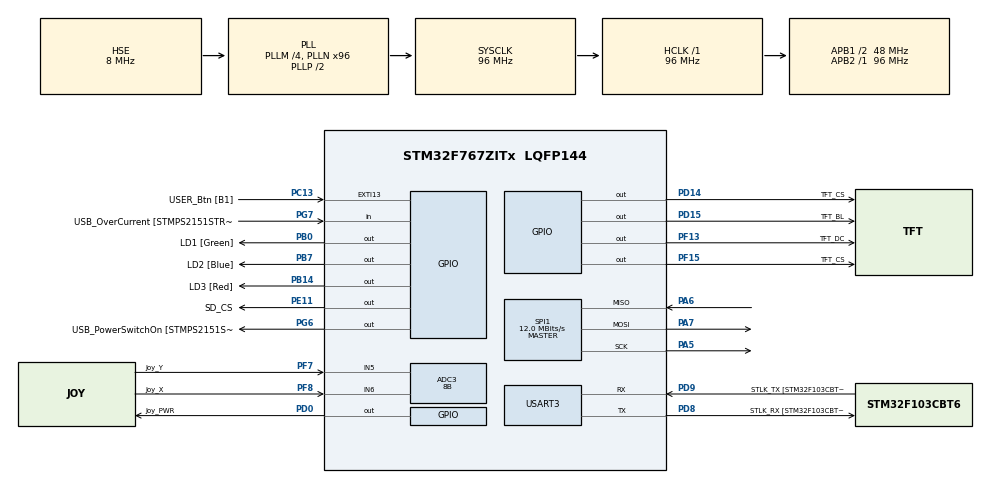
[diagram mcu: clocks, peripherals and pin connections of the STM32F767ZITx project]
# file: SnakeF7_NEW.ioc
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ADC3.Channel-0\#ChannelRegularConversion=ADC_CHANNEL_5
ADC3.Channel-1\#ChannelRegularConversion=ADC_CHANNEL_6
ADC3.Channel-2\#ChannelInjectedConversion=ADC_CHANNEL_5
ADC3.Channel-3\#ChannelInjectedConversion=ADC_CHANNEL_6
ADC3.ClockPrescaler=ADC_CLOCK_SYNC_PCLK_DIV6
ADC3.DiscontinuousConvMode=ENABLE
ADC3.InjNumberOfConversion=2
ADC3.InjectedOffset-2\#ChannelInjectedConversion=0
ADC3.InjectedOffset-3\#ChannelInjectedConversion=0
ADC3.InjectedRank-2\#ChannelInjectedConversion=1
ADC3.InjectedRank-3\#ChannelInjectedConversion=2
ADC3.NbrOfConversion=2
ADC3.NbrOfConversionFlag=1
ADC3.NbrOfDiscConversion=1
ADC3.Rank-0\#ChannelRegularConversion=1
ADC3.Rank-1\#ChannelRegularConversion=2
ADC3.Resolution=ADC_RESOLUTION_8B
ADC3.SamplingTime-0\#ChannelRegularConversion=ADC_SAMPLETIME_3CYCLES
ADC3.SamplingTime-1\#ChannelRegularConversion=ADC_SAMPLETIME_3CYCLES
ADC3.SamplingTime-2\#ChannelInjectedConversion=ADC_SAMPLETIME_3CYCLES
ADC3.SamplingTime-3\#ChannelInjectedConversion=ADC_SAMPLETIME_3CYCLES
ADC3.ScanConvMode=ADC_SCAN_ENABLE
Mcu.Family=STM32F7
Mcu.Name=STM32F767ZITx
Mcu.Package=LQFP144
NVIC.PriorityGroup=NVIC_PRIORITYGROUP_4
PA13.GPIO_Label=TMS
PA13.Mode=Serial_Wire
PA13.Signal=SYS_JTMS-SWDIO
PA14.GPIO_Label=TCK
PA14.Mode=Serial_Wire
PA14.Signal=SYS_JTCK-SWCLK
PA5.Mode=Full_Duplex_Master
PA5.Signal=SPI1_SCK
PA6.Mode=Full_Duplex_Master
PA6.Signal=SPI1_MISO
PA7.Mode=Full_Duplex_Master
PA7.Signal=SPI1_MOSI
PB0.GPIO_Label=LD1 [Green]
PB0.Signal=GPIO_Output
PB14.GPIO_Label=LD3 [Red]
PB14.Signal=GPIO_Output
PB3.GPIO_Label=SWO
PB3.Signal=SYS_JTDO-SWO
PB7.GPIO_Label=LD2 [Blue]
PB7.Signal=GPIO_Output
PC13.GPIO_Label=USER_Btn [B1]
PC13.Signal=GPXTI13
PC14/OSC32_IN.Mode=LSE-External-Oscillator
PC14/OSC32_IN.Signal=RCC_OSC32_IN
PC15/OSC32_OUT.Mode=LSE-External-Oscillator
PC15/OSC32_OUT.Signal=RCC_OSC32_OUT
PD0.GPIO_Label=Joy_PWR
PD0.GPIO_ModeDefaultOutputPP=GPIO_MODE_OUTPUT_PP
PD0.GPIO_PuPd=GPIO_PULLUP
PD0.PinState=GPIO_PIN_SET
PD0.Signal=GPIO_Output
PD14.GPIO_Label=TFT_CS
PD14.Signal=GPIO_Output
PD15.GPIO_Label=TFT_BL
PD15.Signal=GPIO_Output
PD8.GPIO_Label=STLK_RX [STM32F103CBT6_PA3]
PD8.Mode=Asynchronous
PD8.Signal=USART3_TX
PD9.GPIO_Label=STLK_TX [STM32F103CBT6_PA2]
PD9.Mode=Asynchronous
PD9.Signal=USART3_RX
PE11.GPIO_Label=SD_CS
PE11.Signal=GPIO_Output
PF13.GPIO_Label=TFT_DC
PF13.Signal=GPIO_Output
PF15.GPIO_Label=TFT_CS
PF15.Signal=GPIO_Output
PF7.GPIO_Label=Joy_Y
PF7.Mode=IN5
PF7.Signal=ADC3_IN5
PF8.GPIO_Label=Joy_X
PF8.Mode=IN6
PF8.Signal=ADC3_IN6
PG6.GPIO_Label=USB_PowerSwitchOn [STMPS2151STR_EN]
PG6.Signal=GPIO_Output
PG7.GPIO_Label=USB_OverCurrent [STMPS2151STR_FAULT]
PG7.Signal=GPIO_Input
PH0/OSC_IN.GPIO_Label=MCO [STM32F103CBT6_PA8]
PH0/OSC_IN.Mode=HSE-External-Clock-Source
PH0/OSC_IN.Signal=RCC_OSC_IN
PH1/OSC_OUT.Mode=HSE-External-Clock-Source
PH1/OSC_OUT.Signal=RCC_OSC_OUT
ProjectManager.HeapSize=0x200
ProjectManager.StackSize=0x400
ProjectManager.TargetToolchain=STM32CubeIDE
RCC.48MHZClocksFreq_Value=24000000
RCC.AHBFreq_Value=96000000
RCC.APB1CLKDivider=RCC_HCLK_DIV2
RCC.APB1Freq_Value=48000000
RCC.APB1TimFreq_Value=96000000
RCC.APB2Freq_Value=96000000
RCC.APB2TimFreq_Value=96000000
RCC.CortexFreq_Value=96000000
RCC.HCLKFreq_Value=96000000
RCC.HSE_VALUE=8000000
RCC.HSI_VALUE=16000000
RCC.PLLM=4
RCC.PLLMUL=RCC_PLL_MUL9
RCC.PLLN=96
RCC.PLLQ=4
RCC.PLLSourceVirtual=RCC_PLLSOURCE_HSE
RCC.PRESCALERUSB=RCC_USBCLKSOURCE_PLL_DIV1_5
RCC.SYSCLKFreq_VALUE=96000000
RCC.SYSCLKSource=RCC_SYSCLKSOURCE_PLLCLK
RCC.SYSCLKSourceVirtual=RCC_SYSCLKSOURCE_PLLCLK
RCC.USBFreq_Value=48000000
RCC.VCOOutputFreq_Value=192000000
SPI1.BaudRatePrescaler=SPI_BAUDRATEPRESCALER_8
SPI1.CalculateBaudRate=12.0 MBits/s
SPI1.DataSize=SPI_DATASIZE_8BIT
SPI1.Direction=SPI_DIRECTION_2LINES
SPI1.Mode=SPI_MODE_MASTER
SPI1.VirtualType=VM_MASTER
USART3.VirtualMode-Asynchronous=VM_ASYNC
VP_RNG_VS_RNG.Mode=RNG_Activate
board=NUCLEO-F767ZI

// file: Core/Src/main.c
/* USER CODE BEGIN Header */
/**
  ******************************************************************************
  * @file           : main.c
  * @brief          : Main program body
  ******************************************************************************
  * @attention
  *
  * Copyright (c) 2023 STMicroelectronics.
  * All rights reserved.
  *
  * This software is licensed under terms that can be found in the LICENSE file
  * in the root directory of this software component.
  * If no LICENSE file comes with this software, it is provided AS-IS.
  *
  ******************************************************************************
  */
/* USER CODE END Header */
#include "main.h"

/* USER CODE BEGIN Includes */
#include <stdio.h>
#include <string.h>

#include "../XPT2046/XPT2046.h"
#include "../XPT2046/LCD.h"
#include "../XPT2046/Touch.h"
#include "../XPT2046/5x5_font.h"
#include "../XPT2046/graphics.h"

/* USER CODE END Includes */

/* USER CODE BEGIN PD */
#define FRAME_Free		0
#define FRAME_Snake		10
#define FRAME_Block		11
#define FRAME_Food		12
#define FRAME_Turtle	13

#define MOVE_LEFT	1
#define MOVE_RIGHT	2
#define MOVE_UP		3
#define MOVE_DOWN	4

#define food	0
#define turtle	1

#define normal	0
#define maze	1

#define head_x snake[0][0]
#define head_y snake[0][1]
#define tail_x snake[snake_lenght - 1][0]
#define tail_y snake[snake_lenght - 1][1]
#define tail_x_old snake[snake_lenght][0]
#define tail_y_old snake[snake_lenght][1]
/* USER CODE END PD */

 ADC_HandleTypeDef hadc3;

RNG_HandleTypeDef hrng;

SPI_HandleTypeDef hspi1;

UART_HandleTypeDef huart3;

/* USER CODE BEGIN PV */
const uint16_t Classic_GREEN	 = 0x9660;
const uint16_t ClassicFont_GREEN = 0x0000;
const uint16_t LCD1602_GREEN	 = 0xCFA4;
const uint16_t LCD1602Font_GREEN = 0x4322;
const uint16_t LCD1602_BLUE		 = 0x0358;
const uint16_t LCD1602Font_BLUE	 = 0xB79F;
const uint16_t LCD1602_RED		 = 0xF800;
const uint16_t LCD1602Font_RED	 = 0x0000;
const uint16_t OLED_BLUE		 = 0x0000;
const uint16_t OLEDFont_BLUE	 = 0x1F9E;
const uint16_t OLED_YELLOW	 	 = 0x0000;
const uint16_t OLEDFont_YELLOW	 = 0xFF80;
const uint16_t OLED_WHITE	 	 = 0x0000;
const uint16_t OLEDFont_WHITE	 = 0xFFFF;
const uint16_t CUSTOM_YELLOW	 = 0xFF80;
const uint16_t CUSTOM_YELLOWFont = 0x0000;
const uint16_t FALLOUT			 = 0x19A4;
const uint16_t FALLOUTFont		 = 0x168D;

const uint8_t field_width = 12;
const uint8_t field_height = 15;

const char classic[] = "Classic";
const char lcd_green[] = "LCD Green";
const char lcd_blue[] = "LCD Blue";
const char lcd_red[]  = "LCD Red";
const char oled_b[] = "OLED B";
const char oled_y[] = "OLED Y";
const char oled_w[] = "OLED W";
const char fallout[]  = "Fallout";
const char yellow[]  = "Yellow";

struct btn {
	uint8_t up, down, left, right, center;
} btn;

uint8_t move_dir = 3;
uint8_t move_dir_old = 3;
uint8_t snake_lenght = 3;
uint8_t turtle_exist = 0;
uint8_t eating = 0;

uint8_t go_game = 0;
uint16_t score = 0;
uint8_t turtles = 0;
uint16_t speed = 500;

uint8_t color_pack = 1;
uint16_t main_color = 0x9660;
uint16_t font_color = 0x0000;

uint32_t sys_t0 = 0;
uint32_t sys_t1 = 0;
uint32_t sys_t2 = 0;
uint32_t sys_t3 = 0;

int8_t snake[300][2];
char str[32];
uint8_t field[13][16]; //[16][13]

/* USER CODE END PV */

void SystemClock_Config(void);
static void MX_GPIO_Init(void);
static void MX_ADC3_Init(void);
static void MX_SPI1_Init(void);
static void MX_USART3_UART_Init(void);
static void MX_RNG_Init(void);

/* USER CODE BEGIN 0 */
void joy_direction() {
	HAL_ADC_Start(&hadc3);
	HAL_ADC_PollForConversion(&hadc3, 20);
	uint16_t adc_x = HAL_ADC_GetValue(&hadc3);
	HAL_ADC_Start(&hadc3);
	HAL_ADC_PollForConversion(&hadc3, 20);
	uint16_t adc_y = HAL_ADC_GetValue(&hadc3);

	/*HAL_ADCEx_InjectedStart(&hadc3);
	HAL_ADC_PollForConversion(&hadc3, 20);
	uint16_t adc_x = HAL_ADCEx_InjectedGetValue(&hadc3, ADC_INJECTED_RANK_1);
	uint16_t adc_y = HAL_ADCEx_InjectedGetValue(&hadc3, ADC_INJECTED_RANK_2);
	*/

	//HAL_UART_Transmit(&huart2, (uint8_t*)str, sprintf(str, "x=%d y=%d\r\n", adc_x, adc_y), 100);

	//joy_x_state <<= 1;
	//joy_y_state <<= 1;
	if(adc_x > 225) { move_dir = MOVE_RIGHT; return; }
	if(adc_x < 25) { move_dir = MOVE_LEFT; return; }
	if(adc_y > 225) { move_dir = MOVE_UP; return; }
	if(adc_y < 25) { move_dir = MOVE_DOWN; return; }
	//move_dir = 0;
}

void joy_digit() {
	HAL_ADC_Start(&hadc3);
	HAL_ADC_PollForConversion(&hadc3, 20);
	uint16_t adc_x = HAL_ADC_GetValue(&hadc3);
	HAL_ADC_Start(&hadc3);
	HAL_ADC_PollForConversion(&hadc3, 20);
	uint16_t adc_y = HAL_ADC_GetValue(&hadc3);

	HAL_UART_Transmit(&huart3, (uint8_t*)str, sprintf(str, "x=%d y=%d\r\n", adc_x, adc_y), 100);

	btn.left <<= 1;
	btn.right <<= 1;
	btn.up <<= 1;
	btn.down <<= 1;
	if(adc_x < 225) btn.left |= 1;
	if(adc_x > 25) btn.right |= 1;
	if(adc_y < 225) btn.down |= 1;
	if(adc_y > 25) btn.up |= 1;
}

void draw_snake() {
	lcd_fill_rect(tail_x_old*16+16, tail_y_old*16+52, 16, 16, main_color);
	//ILI9341_Draw_Rectangle(tail_x_old*16+16, tail_y_old*16+52, 16, 16, main_color); //�������� ������

	int32_t Image_addr = 0;
	switch(move_dir) {
		case MOVE_UP: Image_addr = &Image_head_U; break;
		case MOVE_LEFT: Image_addr = &Image_head_L; break;
		case MOVE_RIGHT: Image_addr = &Image_head_R; break;
		case MOVE_DOWN: Image_addr = &Image_head_D; break;
	}
	lcd_draw_mono_image(Image_addr, head_x*16+16, head_y*16+52, 8, 8, font_color, 2);

	lcd_fill_rect(snake[1][0]*16+16, snake[1][1]*16+52, 16, 16, main_color);
	if(eating == 1) {
		switch(move_dir) {
			case MOVE_UP:  Image_addr = &Image_body_food_U_D; break;
			case MOVE_DOWN: Image_addr = &Image_body_food_U_D; break;
			case MOVE_LEFT: Image_addr = &Image_body_food_L_R; break;
			case MOVE_RIGHT: Image_addr = &Image_body_food_L_R; break;
		}
		eating = 0;
	} else
	if(move_dir_old == MOVE_RIGHT) {
		switch(move_dir) {
			case MOVE_UP:  Image_addr = &Image_body_UtoL; break;
			case MOVE_DOWN: Image_addr = &Image_body_DtoL; break;
			case MOVE_RIGHT: Image_addr = &Image_body_L_R; break;
		}
	} else
	if(move_dir_old == MOVE_UP) {
		switch(move_dir) {
			case MOVE_LEFT:  Image_addr = &Image_body_DtoL; break;
			case MOVE_RIGHT: Image_addr = &Image_body_DtoR; break;
			case MOVE_UP: Image_addr = &Image_body_U_D; break;
		}
	} else
	if(move_dir_old == MOVE_DOWN) {
		switch(move_dir) {
			case MOVE_LEFT:  Image_addr = &Image_body_UtoL; break;
			case MOVE_RIGHT: Image_addr = &Image_body_UtoR; break;
			case MOVE_DOWN: Image_addr = &Image_body_U_D; break;
		}
	} else
	if(move_dir_old == MOVE_LEFT) {
		switch(move_dir) {
			case MOVE_UP:  Image_addr = &Image_body_UtoR; break;
			case MOVE_DOWN: Image_addr = &Image_body_DtoR; break;
			case MOVE_LEFT: Image_addr = &Image_body_L_R; break;
		}
	}
	lcd_draw_mono_image(Image_addr, snake[1][0]*16+16, snake[1][1]*16+52, 8, 8, font_color, 2);

	lcd_fill_rect(tail_x*16+16, tail_y*16+52, 16, 16, main_color);
	if(tail_y == snake[snake_lenght-2][1]) {
		if(tail_x < snake[snake_lenght-2][0]) Image_addr = &Image_tail_R;
		if(tail_x > snake[snake_lenght-2][0]) Image_addr = &Image_tail_L;
	}
	if(tail_x == snake[snake_lenght-2][0]) {
		if(tail_y < snake[snake_lenght-2][1]) Image_addr = &Image_tail_D;
		if(tail_y > snake[snake_lenght-2][1]) Image_addr = &Image_tail_U;
	}
	lcd_draw_mono_image(Image_addr, tail_x*16+16, tail_y*16+52, 8, 8, font_color, 2);
}

void snake_to_field() {
	for(int s=0; s<snake_lenght; s++) {
	field[snake[s][0]][snake[s][1]] = FRAME_Snake;
	}
	field[tail_x_old][tail_y_old] = FRAME_Free;
}

void upd_score() {
	sprintf(str, "%04d", score);
	ILI9341_Draw_Text(str, 6, 2, font_color, 3, main_color);
}

void upd_turtles() {
	sprintf(str, "%02d", turtles);
	ILI9341_Draw_Text(str, 199, 2, font_color, 3, main_color);
}

void draw_interface(uint8_t game_mode){
	lcd_clear_screen(main_color);
	lcd_draw_mono_image(Image_big_turtle, 162, 8, 32, 16, font_color, 1);
	upd_score();
	upd_turtles();
	for(int r=0; r<46; r++) {
		lcd_fill_rect(r*5+5, 32, 4, 4, font_color);
		lcd_fill_rect(r*5+5, 42, 4, 4, font_color);
		lcd_fill_rect(r*5+5, 312, 4, 4, font_color);
	}
	for(int s=0; s<54; s++) {
		lcd_fill_rect(5, s*5+42, 4, 4, font_color);
		lcd_fill_rect(230, s*5+42, 4, 4, font_color);
	}
	if(game_mode == 2) {
		for(int s=0; s<4; s++) {
			field[s][0] = field[s+9][0] = field[s][15] = field[s+9][15] = FRAME_Block;
			lcd_draw_mono_image(Image_Block, s*16+16,		52, 16, 16, font_color, 1);
			lcd_draw_mono_image(Image_Block, (s+9)*16+16,	52, 16, 16, font_color, 1);
			lcd_draw_mono_image(Image_Block, s*16+16,		15*16+52, 16, 16, font_color, 1);
			lcd_draw_mono_image(Image_Block, (s+9)*16+16,	15*16+52, 16, 16, font_color, 1);
		}
		for(int s=0; s<4; s++) {
			field[0][s] = field[0][s+12] = field[12][s] = field[12][s+12] = FRAME_Block;
			lcd_draw_mono_image(Image_Block, 16,		s*16+52, 16, 16, font_color, 1);
			lcd_draw_mono_image(Image_Block, 16,		(s+12)*16+52, 16, 16, font_color, 1);
			lcd_draw_mono_image(Image_Block, 12*16+16,	s*16+52, 16, 16, font_color, 1);
			lcd_draw_mono_image(Image_Block, 12*16+16,	(s+12)*16+52, 16, 16, font_color, 1);
		}
		for(int r=4; r<12; r++) {
			field[4][r] = field[8][r] = FRAME_Block;
			lcd_draw_mono_image(Image_Block, 4*16+16, r*16+52, 16, 16, font_color, 1);
			lcd_draw_mono_image(Image_Block, 8*16+16, r*16+52, 16, 16, font_color, 1);
		}

	}
}

void new_snake(uint8_t start_x, uint8_t start_y) {
	head_x = start_x;
	head_y = start_y;
	snake[1][0] = start_x;
	snake[1][1] = start_y + 1;
	tail_x = start_x;
	tail_y = start_y + 2;
	tail_x_old = start_x;
	tail_y_old = start_y + 3;
	snake[snake_lenght + 1][0] = start_x;
	snake[snake_lenght + 1][1] = start_y + 4;
}

void game_over() {
	lcd_fill_rect(91, 2, 56, 32, main_color);
	ILI9341_Draw_Text("GAME", 96, 2, font_color, 2, main_color);
	ILI9341_Draw_Text("OVER", 96, 18, font_color, 2, main_color);
	while(1) {
		ILI9341_Draw_Hollow_Rectangle_Coord(91, 2, 147, 34, font_color);
		ILI9341_Draw_Hollow_Rectangle_Coord(90, 1, 148, 35, font_color);
		HAL_Delay(250);
		ILI9341_Draw_Hollow_Rectangle_Coord(91, 2, 147, 34, main_color);
		ILI9341_Draw_Hollow_Rectangle_Coord(90, 1, 148, 35, main_color);
		HAL_Delay(250);
	}
}

void add_food(uint8_t food_or_turtle) {
	uint8_t food_x, food_y;
	do {
		do {
		food_x = (HAL_RNG_GetRandomNumber(&hrng) & 0x0F);
		} while(food_x > field_width);
		food_y = (HAL_RNG_GetRandomNumber(&hrng) & 0x0F);
	} while(field[food_x][food_y] != FRAME_Free);
	switch(food_or_turtle) {
	case food: field[food_x][food_y] = FRAME_Food;
			lcd_draw_mono_image(Image_food, food_x*16+16, food_y*16+52, 8, 8, font_color, 2);
			break;
	case turtle: field[food_x][food_y] = FRAME_Turtle;
			lcd_draw_mono_image(Image_turtle, food_x*16+16, food_y*16+52, 16, 16, font_color, 1);
			break;
	}
}

void check_contact() {
	switch(field[head_x][head_y]) {
		case FRAME_Snake: game_over(); break;

		case FRAME_Block: game_over(); break;

		case FRAME_Food:
			eating = 1;
			snake_lenght++;
			score += 5;
			speed -= 10;
			if(speed < 150) speed = 150;
			upd_score();
			add_food(food); break;

		case FRAME_Turtle:
			eating = 1;
			snake_lenght++;
			score += 15;
			turtles++;
			speed -= 10;
			if(speed < 150) speed = 150;
			upd_score();
			upd_turtles();
			turtle_exist = 0; break;
	}
}

void shift_arr_snake() {
	for(uint8_t c=snake_lenght+1; c>0; c--) {
		snake[c][0] = snake[c-1][0];
		snake[c][1] = snake[c-1][1];
	}
}

void move_snake() {
	if((move_dir == MOVE_LEFT) & (move_dir_old == MOVE_RIGHT)) move_dir = MOVE_RIGHT;
	if((move_dir == MOVE_RIGHT) & (move_dir_old == MOVE_LEFT)) move_dir = MOVE_LEFT;
	if((move_dir == MOVE_UP) & (move_dir_old == MOVE_DOWN)) move_dir = MOVE_DOWN;
	if((move_dir == MOVE_DOWN) & (move_dir_old == MOVE_UP)) move_dir = MOVE_UP;
	switch(move_dir) {
	  case MOVE_LEFT:

		   shift_arr_snake();
		   head_x--;
		   if(head_x < 0) head_x = field_width;
		   break;

	  case MOVE_RIGHT:
		   //if(move_dir_old == MOVE_LEFT) { return; }
		   shift_arr_snake();
		   head_x++;
		   if(head_x > field_width) head_x = 0;
		   break;

	  case MOVE_UP:
		   //if(move_dir_old == MOVE_DOWN) { return; }
		   shift_arr_snake();
		   head_y--;
		   if(head_y < 0) head_y = field_height;
		   break;

	  case MOVE_DOWN:
		   //if(move_dir_old == MOVE_UP) { return; }
		   shift_arr_snake();
		   head_y++;
		   if(head_y > field_height) head_y = 0;
		   break;
	}
}

void draw_arrow(uint8_t arrow) {
	uint8_t text_x = 15;
	uint8_t text_y = 168;
	switch(arrow) {
		case 1: ILI9341_Draw_Text(">", text_x, text_y+24, font_color, 3, main_color);
				ILI9341_Draw_Text(" ", text_x, text_y+48, font_color, 3, main_color);
				ILI9341_Draw_Text(" ", text_x, text_y+96, font_color, 3, main_color);
		break;
		case 2: ILI9341_Draw_Text(" ", text_x, text_y+24, font_color, 3, main_color);
				ILI9341_Draw_Text(">", text_x, text_y+48, font_color, 3, main_color);
				ILI9341_Draw_Text(" ", text_x, text_y+96, font_color, 3, main_color);
		break;
		case 3: ILI9341_Draw_Text(" ", text_x, text_y+24, font_color, 3, main_color);
				ILI9341_Draw_Text(" ", text_x, text_y+48, font_color, 3, main_color);
				ILI9341_Draw_Text(">", text_x, text_y+96, font_color, 3, main_color);

		break;
	}
}

void draw_menu(uint8_t st) {
	lcd_clear_screen(main_color);
	uint8_t text_x = 15;
	uint8_t text_y = 168;
	lcd_draw_mono_image(Image_snake_logo, 24, 20, 96, 64, font_color, 2);
	ILI9341_Draw_Text("NEW GAME:", text_x, text_y, font_color, 3, main_color);
	ILI9341_Draw_Text("  NORMAL", text_x, text_y+24, font_color, 3, main_color);
	ILI9341_Draw_Text("  MAZE", text_x, text_y+48, font_color, 3, main_color);
	ILI9341_Draw_Text("COLOR: ", text_x, text_y+72, font_color, 3, main_color);
	switch(color_pack) {
	case 1: ILI9341_Draw_Text(classic, text_x+36, text_y+96, font_color, 3, main_color); break;
	case 2: ILI9341_Draw_Text(lcd_green, text_x+36, text_y+96, font_color, 3, main_color); break;
	case 3: ILI9341_Draw_Text(lcd_blue, text_x+36, text_y+96, font_color, 3, main_color); break;
	case 4: ILI9341_Draw_Text(lcd_red, text_x+36, text_y+96, font_color, 3, main_color); break;
	case 5: ILI9341_Draw_Text(oled_b, text_x+36, text_y+96, font_color, 3, main_color); break;
	case 6: ILI9341_Draw_Text(oled_y, text_x+36, text_y+96, font_color, 3, main_color); break;
	case 7: ILI9341_Draw_Text(oled_w, text_x+36, text_y+96, font_color, 3, main_color); break;
	case 8: ILI9341_Draw_Text(fallout, text_x+36, text_y+96, font_color, 3, main_color); break;
	case 9: ILI9341_Draw_Text(yellow, text_x+36, text_y+96, font_color, 3, main_color); break;
	}
	switch(st) {
		case 1: ILI9341_Draw_Text(">", text_x, text_y+24, font_color, 3, main_color);
				ILI9341_Draw_Text(" ", text_x, text_y+48, font_color, 3, main_color);
				ILI9341_Draw_Text(" ", text_x, text_y+96, font_color, 3, main_color);
		break;
		case 2: ILI9341_Draw_Text(" ", text_x, text_y+24, font_color, 3, main_color);
				ILI9341_Draw_Text(">", text_x, text_y+48, font_color, 3, main_color);
				ILI9341_Draw_Text(" ", text_x, text_y+96, font_color, 3, main_color);
		break;
		case 3: ILI9341_Draw_Text(" ", text_x, text_y+24, font_color, 3, main_color);
				ILI9341_Draw_Text(" ", text_x, text_y+48, font_color, 3, main_color);
				ILI9341_Draw_Text(">", text_x, text_y+96, font_color, 3, main_color);

		break;
	}
}

void change_color(uint8_t q) {
	switch(q) {
	case 1: main_color = Classic_GREEN; font_color = ClassicFont_GREEN; break;
	case 2: main_color = LCD1602_GREEN; font_color = LCD1602Font_GREEN; break;
	case 3: main_color = LCD1602_BLUE; font_color = LCD1602Font_BLUE; break;
	case 4: main_color = LCD1602_RED; font_color = LCD1602Font_RED; break;
	case 5: main_color = OLED_BLUE; font_color = OLEDFont_BLUE; break;
	case 6: main_color = OLED_YELLOW; font_color = OLEDFont_YELLOW; break;
	case 7: main_color = OLED_WHITE; font_color = OLEDFont_WHITE; break;
	case 8: main_color = FALLOUT; font_color = FALLOUTFont; break;
	case 9: main_color = CUSTOM_YELLOW; font_color = CUSTOM_YELLOWFont; break;
	}
}

void menu() {
	uint8_t state = 1;
	uint8_t l_r = 2;
	draw_menu(state);

	while(go_game == 0) {
		if(HAL_GetTick()-sys_t0>150) {
			sys_t0 = HAL_GetTick();
			joy_digit();
			if(((btn.up & 2) == 0) & ((btn.up & 1) == 1)) state++;
			if(((btn.down & 2) == 0) & ((btn.down & 1) == 1)) state--;
			if(state > 3) state = 3;
			if(state < 1) state = 1;
			if(((btn.right & 2) == 0) & ((btn.right & 1) == 1)) l_r--;
			if(((btn.left & 2) == 0) & ((btn.left & 1) == 1)) l_r++;
			if(l_r > 3) l_r = 3;
			if(l_r < 1) l_r = 1;

			draw_arrow(state);

			if((state == 1) & (l_r == 3)) go_game = 1;
			if((state == 2) & (l_r == 3)) go_game = 2;
			if((state == 3) & (l_r == 3)) {
				l_r = 2;
				color_pack++;
				if(color_pack > 9) color_pack = 1;
				change_color(color_pack);
				draw_menu(state);
			}
			if((state == 3) & (l_r == 1)) {
				l_r = 2;
				color_pack--;
				if(color_pack < 1) color_pack = 9;
				change_color(color_pack);
				draw_menu(state);
			}
		}
	}
}

void start_game() {
	new_snake(6, 7);
	draw_snake();
	HAL_Delay(500);
	add_food(food);
}

/* USER CODE END 0 */

int main(void)
{

  /* MCU Configuration--------------------------------------------------------*/

  /* Reset of all peripherals, Initializes the Flash interface and the Systick. */
  HAL_Init();

  /* Configure the system clock */
  SystemClock_Config();

  /* Initialize all configured peripherals */
  MX_GPIO_Init();
  MX_ADC3_Init();
  MX_SPI1_Init();
  MX_USART3_UART_Init();
  MX_RNG_Init();
  /* USER CODE BEGIN 2 */

  lcd_init(); //ILI9341_Init();
    //ILI9341_Set_Rotation(SCREEN_VERTICAL_2);

  //  while(1) {
  //	  lcd_clear_screen(BLUE);
  //	  lcd_fill_rect(10, 10, 2, 2, RED);
  //	  HAL_Delay(300);
  //	  lcd_fill_rect(50, 10, 3, 3, RED);
  //	  HAL_Delay(300);
  //	  lcd_fill_rect(10, 100, 4, 4, RED);
  //	  HAL_Delay(300);
  //	  lcd_fill_rect(50, 100, 5, 5, RED);
  //	  HAL_Delay(300);
  //
  //  }

    menu();
    draw_interface(go_game);
    start_game();

  /* USER CODE END 2 */

  /* Infinite loop */
  /* USER CODE BEGIN WHILE */
  while (1)
  {
	  // Read Joy and set direction
	  	  if(HAL_GetTick()-sys_t0>100) {
	  		  sys_t0 = HAL_GetTick();
	  		  joy_direction();
	  	  }
	  	  // Move snake
	  	  if(HAL_GetTick()-sys_t1>speed) {
	  		  sys_t1 = HAL_GetTick();
	  		  move_snake();
	  		  check_contact();
	  		  snake_to_field();
	  		  draw_snake();
	  		  move_dir_old = move_dir;
	  	  }
	  	  // Add turtle
	  	  if(HAL_GetTick()-sys_t2>10000) {
	  		  sys_t2 = HAL_GetTick();
	  		  if(turtle_exist == 0) {
	  			  add_food(turtle);
	  			  turtle_exist = 1;
	  		  }
	  	  }
    /* USER CODE END WHILE */

  }
}

void SystemClock_Config(void)
{
  RCC_OscInitTypeDef RCC_OscInitStruct = {0};
  RCC_ClkInitTypeDef RCC_ClkInitStruct = {0};

  /** Configure LSE Drive Capability
  */
  HAL_PWR_EnableBkUpAccess();

  /** Configure the main internal regulator output voltage
  */
  __HAL_RCC_PWR_CLK_ENABLE();
  __HAL_PWR_VOLTAGESCALING_CONFIG(PWR_REGULATOR_VOLTAGE_SCALE3);

  /** Initializes the RCC Oscillators according to the specified parameters
  * in the RCC_OscInitTypeDef structure.
  */
  RCC_OscInitStruct.OscillatorType = RCC_OSCILLATORTYPE_HSE;
  RCC_OscInitStruct.HSEState = RCC_HSE_BYPASS;
  RCC_OscInitStruct.PLL.PLLState = RCC_PLL_ON;
  RCC_OscInitStruct.PLL.PLLSource = RCC_PLLSOURCE_HSE;
  RCC_OscInitStruct.PLL.PLLM = 4;
  RCC_OscInitStruct.PLL.PLLN = 96;
  RCC_OscInitStruct.PLL.PLLP = RCC_PLLP_DIV2;
  RCC_OscInitStruct.PLL.PLLQ = 4;
  RCC_OscInitStruct.PLL.PLLR = 2;
  if (HAL_RCC_OscConfig(&RCC_OscInitStruct) != HAL_OK)
  {
    Error_Handler();
  }

  /** Activate the Over-Drive mode
  */
  if (HAL_PWREx_EnableOverDrive() != HAL_OK)
  {
    Error_Handler();
  }

  /** Initializes the CPU, AHB and APB buses clocks
  */
  RCC_ClkInitStruct.ClockType = RCC_CLOCKTYPE_HCLK|RCC_CLOCKTYPE_SYSCLK
                              |RCC_CLOCKTYPE_PCLK1|RCC_CLOCKTYPE_PCLK2;
  RCC_ClkInitStruct.SYSCLKSource = RCC_SYSCLKSOURCE_PLLCLK;
  RCC_ClkInitStruct.AHBCLKDivider = RCC_SYSCLK_DIV1;
  RCC_ClkInitStruct.APB1CLKDivider = RCC_HCLK_DIV2;
  RCC_ClkInitStruct.APB2CLKDivider = RCC_HCLK_DIV1;

  if (HAL_RCC_ClockConfig(&RCC_ClkInitStruct, FLASH_LATENCY_3) != HAL_OK)
  {
    Error_Handler();
  }
}

static void MX_ADC3_Init(void)
{

  ADC_ChannelConfTypeDef sConfig = {0};
  ADC_InjectionConfTypeDef sConfigInjected = {0};

  /** Configure the global features of the ADC (Clock, Resolution, Data Alignment and number of conversion)
  */
  hadc3.Instance = ADC3;
  hadc3.Init.ClockPrescaler = ADC_CLOCK_SYNC_PCLK_DIV6;
  hadc3.Init.Resolution = ADC_RESOLUTION_8B;
  hadc3.Init.ScanConvMode = ADC_SCAN_ENABLE;
  hadc3.Init.ContinuousConvMode = DISABLE;
  hadc3.Init.DiscontinuousConvMode = ENABLE;
  hadc3.Init.NbrOfDiscConversion = 1;
  hadc3.Init.ExternalTrigConvEdge = ADC_EXTERNALTRIGCONVEDGE_NONE;
  hadc3.Init.ExternalTrigConv = ADC_SOFTWARE_START;
  hadc3.Init.DataAlign = ADC_DATAALIGN_RIGHT;
  hadc3.Init.NbrOfConversion = 2;
  hadc3.Init.DMAContinuousRequests = DISABLE;
  hadc3.Init.EOCSelection = ADC_EOC_SINGLE_CONV;
  if (HAL_ADC_Init(&hadc3) != HAL_OK)
  {
    Error_Handler();
  }

  /** Configure for the selected ADC regular channel its corresponding rank in the sequencer and its sample time.
  */
  sConfig.Channel = ADC_CHANNEL_5;
  sConfig.Rank = ADC_REGULAR_RANK_1;
  sConfig.SamplingTime = ADC_SAMPLETIME_3CYCLES;
  if (HAL_ADC_ConfigChannel(&hadc3, &sConfig) != HAL_OK)
  {
    Error_Handler();
  }

  /** Configure for the selected ADC regular channel its corresponding rank in the sequencer and its sample time.
  */
  sConfig.Channel = ADC_CHANNEL_6;
  sConfig.Rank = ADC_REGULAR_RANK_2;
  if (HAL_ADC_ConfigChannel(&hadc3, &sConfig) != HAL_OK)
  {
    Error_Handler();
  }

  /** Configures for the selected ADC injected channel its corresponding rank in the sequencer and its sample time
  */
  sConfigInjected.InjectedChannel = ADC_CHANNEL_5;
  sConfigInjected.InjectedRank = ADC_INJECTED_RANK_1;
  sConfigInjected.InjectedNbrOfConversion = 2;
  sConfigInjected.InjectedSamplingTime = ADC_SAMPLETIME_3CYCLES;
  sConfigInjected.ExternalTrigInjecConvEdge = ADC_EXTERNALTRIGINJECCONVEDGE_NONE;
  sConfigInjected.ExternalTrigInjecConv = ADC_INJECTED_SOFTWARE_START;
  sConfigInjected.AutoInjectedConv = DISABLE;
  sConfigInjected.InjectedDiscontinuousConvMode = DISABLE;
  sConfigInjected.InjectedOffset = 0;
  if (HAL_ADCEx_InjectedConfigChannel(&hadc3, &sConfigInjected) != HAL_OK)
  {
    Error_Handler();
  }

  /** Configures for the selected ADC injected channel its corresponding rank in the sequencer and its sample time
  */
  sConfigInjected.InjectedChannel = ADC_CHANNEL_6;
  sConfigInjected.InjectedRank = ADC_INJECTED_RANK_2;
  if (HAL_ADCEx_InjectedConfigChannel(&hadc3, &sConfigInjected) != HAL_OK)
  {
    Error_Handler();
  }

}

static void MX_RNG_Init(void)
{

  hrng.Instance = RNG;
  if (HAL_RNG_Init(&hrng) != HAL_OK)
  {
    Error_Handler();
  }

}

static void MX_SPI1_Init(void)
{

  /* SPI1 parameter configuration*/
  hspi1.Instance = SPI1;
  hspi1.Init.Mode = SPI_MODE_MASTER;
  hspi1.Init.Direction = SPI_DIRECTION_2LINES;
  hspi1.Init.DataSize = SPI_DATASIZE_8BIT;
  hspi1.Init.CLKPolarity = SPI_POLARITY_LOW;
  hspi1.Init.CLKPhase = SPI_PHASE_1EDGE;
  hspi1.Init.NSS = SPI_NSS_SOFT;
  hspi1.Init.BaudRatePrescaler = SPI_BAUDRATEPRESCALER_8;
  hspi1.Init.FirstBit = SPI_FIRSTBIT_MSB;
  hspi1.Init.TIMode = SPI_TIMODE_DISABLE;
  hspi1.Init.CRCCalculation = SPI_CRCCALCULATION_DISABLE;
  hspi1.Init.CRCPolynomial = 7;
  hspi1.Init.CRCLength = SPI_CRC_LENGTH_DATASIZE;
  hspi1.Init.NSSPMode = SPI_NSS_PULSE_ENABLE;
  if (HAL_SPI_Init(&hspi1) != HAL_OK)
  {
    Error_Handler();
  }

}

static void MX_USART3_UART_Init(void)
{

  huart3.Instance = USART3;
  huart3.Init.BaudRate = 115200;
  huart3.Init.WordLength = UART_WORDLENGTH_8B;
  huart3.Init.StopBits = UART_STOPBITS_1;
  huart3.Init.Parity = UART_PARITY_NONE;
  huart3.Init.Mode = UART_MODE_TX_RX;
  huart3.Init.HwFlowCtl = UART_HWCONTROL_NONE;
  huart3.Init.OverSampling = UART_OVERSAMPLING_16;
  huart3.Init.OneBitSampling = UART_ONE_BIT_SAMPLE_DISABLE;
  huart3.AdvancedInit.AdvFeatureInit = UART_ADVFEATURE_NO_INIT;
  if (HAL_UART_Init(&huart3) != HAL_OK)
  {
    Error_Handler();
  }

}

static void MX_GPIO_Init(void)
{
  GPIO_InitTypeDef GPIO_InitStruct = {0};

  /* GPIO Ports Clock Enable */
  __HAL_RCC_GPIOC_CLK_ENABLE();
  __HAL_RCC_GPIOF_CLK_ENABLE();
  __HAL_RCC_GPIOH_CLK_ENABLE();
  __HAL_RCC_GPIOA_CLK_ENABLE();
  __HAL_RCC_GPIOB_CLK_ENABLE();
  __HAL_RCC_GPIOE_CLK_ENABLE();
  __HAL_RCC_GPIOD_CLK_ENABLE();
  __HAL_RCC_GPIOG_CLK_ENABLE();

  /*Configure GPIO pin Output Level */
  HAL_GPIO_WritePin(GPIOB, LD1_Pin|LD3_Pin|LD2_Pin, GPIO_PIN_RESET);

  /*Configure GPIO pin Output Level */
  HAL_GPIO_WritePin(GPIOF, TFT_DC_Pin|TFT_CS_Pin, GPIO_PIN_RESET);

  /*Configure GPIO pin Output Level */
  HAL_GPIO_WritePin(SD_CS_GPIO_Port, SD_CS_Pin, GPIO_PIN_RESET);

  /*Configure GPIO pin Output Level */
  HAL_GPIO_WritePin(GPIOD, TFT_CSD14_Pin|TFT_BL_Pin, GPIO_PIN_RESET);

  /*Configure GPIO pin Output Level */
  HAL_GPIO_WritePin(USB_PowerSwitchOn_GPIO_Port, USB_PowerSwitchOn_Pin, GPIO_PIN_RESET);

  /*Configure GPIO pin Output Level */
  HAL_GPIO_WritePin(Joy_PWR_GPIO_Port, Joy_PWR_Pin, GPIO_PIN_SET);

  /*Configure GPIO pin : USER_Btn_Pin */
  GPIO_InitStruct.Pin = USER_Btn_Pin;
  GPIO_InitStruct.Mode = GPIO_MODE_IT_RISING;
  GPIO_InitStruct.Pull = GPIO_NOPULL;
  HAL_GPIO_Init(USER_Btn_GPIO_Port, &GPIO_InitStruct);

  /*Configure GPIO pins : LD1_Pin LD3_Pin LD2_Pin */
  GPIO_InitStruct.Pin = LD1_Pin|LD3_Pin|LD2_Pin;
  GPIO_InitStruct.Mode = GPIO_MODE_OUTPUT_PP;
  GPIO_InitStruct.Pull = GPIO_NOPULL;
  GPIO_InitStruct.Speed = GPIO_SPEED_FREQ_LOW;
  HAL_GPIO_Init(GPIOB, &GPIO_InitStruct);

  /*Configure GPIO pins : TFT_DC_Pin TFT_CS_Pin */
  GPIO_InitStruct.Pin = TFT_DC_Pin|TFT_CS_Pin;
  GPIO_InitStruct.Mode = GPIO_MODE_OUTPUT_PP;
  GPIO_InitStruct.Pull = GPIO_NOPULL;
  GPIO_InitStruct.Speed = GPIO_SPEED_FREQ_LOW;
  HAL_GPIO_Init(GPIOF, &GPIO_InitStruct);

  /*Configure GPIO pin : SD_CS_Pin */
  GPIO_InitStruct.Pin = SD_CS_Pin;
  GPIO_InitStruct.Mode = GPIO_MODE_OUTPUT_PP;
  GPIO_InitStruct.Pull = GPIO_NOPULL;
  GPIO_InitStruct.Speed = GPIO_SPEED_FREQ_LOW;
  HAL_GPIO_Init(SD_CS_GPIO_Port, &GPIO_InitStruct);

  /*Configure GPIO pins : TFT_CSD14_Pin TFT_BL_Pin */
  GPIO_InitStruct.Pin = TFT_CSD14_Pin|TFT_BL_Pin;
  GPIO_InitStruct.Mode = GPIO_MODE_OUTPUT_PP;
  GPIO_InitStruct.Pull = GPIO_NOPULL;
  GPIO_InitStruct.Speed = GPIO_SPEED_FREQ_LOW;
  HAL_GPIO_Init(GPIOD, &GPIO_InitStruct);

  /*Configure GPIO pin : USB_PowerSwitchOn_Pin */
  GPIO_InitStruct.Pin = USB_PowerSwitchOn_Pin;
  GPIO_InitStruct.Mode = GPIO_MODE_OUTPUT_PP;
  GPIO_InitStruct.Pull = GPIO_NOPULL;
  GPIO_InitStruct.Speed = GPIO_SPEED_FREQ_LOW;
  HAL_GPIO_Init(USB_PowerSwitchOn_GPIO_Port, &GPIO_InitStruct);

  /*Configure GPIO pin : USB_OverCurrent_Pin */
  GPIO_InitStruct.Pin = USB_OverCurrent_Pin;
  GPIO_InitStruct.Mode = GPIO_MODE_INPUT;
  GPIO_InitStruct.Pull = GPIO_NOPULL;
  HAL_GPIO_Init(USB_OverCurrent_GPIO_Port, &GPIO_InitStruct);

  /*Configure GPIO pin : Joy_PWR_Pin */
  GPIO_InitStruct.Pin = Joy_PWR_Pin;
  GPIO_InitStruct.Mode = GPIO_MODE_OUTPUT_PP;
  GPIO_InitStruct.Pull = GPIO_PULLUP;
  GPIO_InitStruct.Speed = GPIO_SPEED_FREQ_LOW;
  HAL_GPIO_Init(Joy_PWR_GPIO_Port, &GPIO_InitStruct);

}

void Error_Handler(void)
{
  __disable_irq();
  while (1)
  {
  }
}
